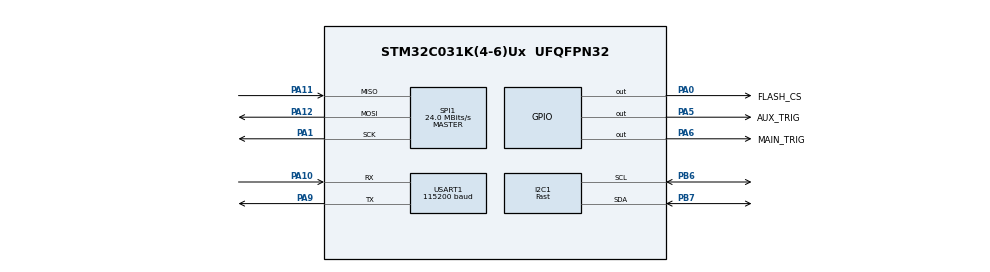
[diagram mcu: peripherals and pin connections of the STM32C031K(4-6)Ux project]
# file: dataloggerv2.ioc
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Dma.Request0=USART1_RX
Dma.USART1_RX.0.Direction=DMA_PERIPH_TO_MEMORY
Dma.USART1_RX.0.EventEnable=DISABLE
Dma.USART1_RX.0.Instance=DMA1_Channel1
Dma.USART1_RX.0.MemDataAlignment=DMA_MDATAALIGN_BYTE
Dma.USART1_RX.0.MemInc=DMA_MINC_ENABLE
Dma.USART1_RX.0.Mode=DMA_CIRCULAR
Dma.USART1_RX.0.PeriphDataAlignment=DMA_PDATAALIGN_BYTE
Dma.USART1_RX.0.PeriphInc=DMA_PINC_DISABLE
Dma.USART1_RX.0.Polarity=HAL_DMAMUX_REQ_GEN_RISING
Dma.USART1_RX.0.Priority=DMA_PRIORITY_LOW
Dma.USART1_RX.0.RequestNumber=1
Dma.USART1_RX.0.SignalID=NONE
Dma.USART1_RX.0.SyncEnable=DISABLE
Dma.USART1_RX.0.SyncPolarity=HAL_DMAMUX_SYNC_NO_EVENT
Dma.USART1_RX.0.SyncRequestNumber=1
Dma.USART1_RX.0.SyncSignalID=NONE
I2C1.I2C_Speed_Mode=I2C_Fast
I2C1.Timing=0x0090194B
Mcu.Family=STM32C0
Mcu.Name=STM32C031K(4-6)Ux
Mcu.Package=UFQFPN32
NVIC.DMA1_Channel1_IRQn=true\:0\:0\:false\:false\:true\:false\:true\:true
NVIC.USART1_IRQn=true\:0\:0\:false\:false\:true\:true\:true\:true
PA0.GPIO_Label=FLASH_CS
PA0.GPIO_Speed=GPIO_SPEED_FREQ_VERY_HIGH
PA0.PinState=GPIO_PIN_SET
PA0.Signal=GPIO_Output
PA1.GPIO_Speed=GPIO_SPEED_FREQ_HIGH
PA1.Mode=Full_Duplex_Master
PA1.Signal=SPI1_SCK
PA10.Mode=Asynchronous
PA10.Signal=USART1_RX
PA11\ [PA9].Mode=Full_Duplex_Master
PA11\ [PA9].Signal=SPI1_MISO
PA12\ [PA10].Mode=Full_Duplex_Master
PA12\ [PA10].Signal=SPI1_MOSI
PA13.Mode=Serial_Wire
PA13.Signal=DEBUG_SWDIO
PA14-BOOT0.Mode=Serial_Wire
PA14-BOOT0.Signal=DEBUG_SWCLK
PA5.GPIO_Label=AUX_TRIG
PA5.GPIO_Speed=GPIO_SPEED_FREQ_MEDIUM
PA5.Signal=GPIO_Output
PA6.GPIO_Label=MAIN_TRIG
PA6.GPIO_Speed=GPIO_SPEED_FREQ_MEDIUM
PA6.Signal=GPIO_Output
PA9.Mode=Asynchronous
PA9.Signal=USART1_TX
PB6.Mode=I2C
PB6.Signal=I2C1_SCL
PB7.Mode=I2C
PB7.Signal=I2C1_SDA
ProjectManager.HeapSize=0x200
ProjectManager.StackSize=0x400
ProjectManager.TargetToolchain=STM32CubeIDE
RCC.ADCFreq_Value=48000000
RCC.AHBFreq_Value=48000000
RCC.CortexFreq_Value=48000000
RCC.EXTERNAL_CLOCK_VALUE=12288000
RCC.HCLKFreq_Value=48000000
RCC.HSE_VALUE=8000000
RCC.HSISYSCLKDivider=RCC_HSI_DIV1
RCC.HSI_VALUE=48000000
RCC.LSE_VALUE=32768
RCC.SYSCLKFreq_VALUE=48000000
SPI1.CalculateBaudRate=24.0 MBits/s
SPI1.Direction=SPI_DIRECTION_2LINES
SPI1.Mode=SPI_MODE_MASTER
SPI1.VirtualType=VM_MASTER
USART1.BaudRate=115200
USART1.VirtualMode-Asynchronous=VM_ASYNC
board=custom

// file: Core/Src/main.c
/* USER CODE BEGIN Header */
/* USER CODE END Header */
#include "main.h"

/* USER CODE BEGIN Includes */
#include "logger.h"
#include "bmp388.h"
#include "base.h"
#include "mh_i2c.h"
#include "mh_spi.h"
#include "stm32c0xx_ll_i2c.h"
/* USER CODE END Includes */

I2C_HandleTypeDef hi2c1;

/* USER CODE BEGIN PV */
static int32_t currentPressure;    //x100
static int16_t currentTemperature; //x100
static BMP388_Calib_t bmp388Calibration;
/* USER CODE END PV */

void SystemClock_Config(void);
static void MX_GPIO_Init(void);
static void MX_DMA_Init(void);
static void MX_USART1_UART_Init(void);
static void MX_SPI1_Init(void);
static void MX_I2C1_Init(void);
/* USER CODE BEGIN PFP */
static void bmp388MeasureAndDisplayOnce();
static void checkBMP388();
static void checkLSM6DSO();
static void checkMX25L32();
/* USER CODE END PFP */

/* USER CODE BEGIN 0 */
static void bmp388MeasureAndDisplayOnce()
{
    bmp388Measure(&bmp388Calibration, &currentPressure, &currentTemperature);
    char tstring[5] = {0};
    char pstring[8] = {0};
    intToAscii(currentTemperature, tstring, 4);
    intToAscii(currentPressure, pstring, 7);
    sendStringUart("T=");
    sendStringUart(tstring);
    sendStringUart(", P=");
    sendStringUart(pstring);
    sendStringUart("\r\n");
}
static void checkBMP388()
{
    if (bmp388Init() == SUCCESS)
    {
        bmp388ReadCoeffs(&bmp388Calibration);
        LL_mDelay(10);
        bmp388MeasureAndDisplayOnce();
        sendStringUart("BMP OK\r\n");
    }
    else
    {
        sendStringUart("BMP FAIL\r\n");
        while(1){ __WFI(); }
    }
}
static void checkLSM6DSO()
{
    uint8_t chipId = 0;
    uint8_t result = FAILURE;
    readI2C(0xD6, 0x0F, &chipId, 1);
    result = (chipId == 0x6A) ? SUCCESS : FAILURE;
    if (result == SUCCESS)
    {
        sendStringUart("LSM OK\r\n");
    }
    else
    {
        sendStringUart("LSM FAIL\r\n");
        while(1){ __WFI(); }
    }
}

static void checkMX25L32(){
    char recvOut[4] = {0};

    LL_GPIO_ResetOutputPin(FLASH_CS_GPIO_Port, FLASH_CS_Pin);
    readAndWrite1bSPI(0x9F); // JEDEC ID
    recvOut[0] = readAndWrite1bSPI(0xFF);
    recvOut[1] = readAndWrite1bSPI(0xFF);
    recvOut[2] = readAndWrite1bSPI(0xFF);
    while (LL_SPI_IsActiveFlag_BSY(SPI1));
    LL_GPIO_SetOutputPin(FLASH_CS_GPIO_Port, FLASH_CS_Pin);

    const uint8_t status = // For MX25L32
            (recvOut[0] != 0xC2) ||
            (recvOut[1] != 0x20) ||
            (recvOut[2] != 0x16);

    sendStringUart("MX25L32: ");
    if (status == SUCCESS)
    {
        sendStringUart("OK");
    }
    else
    {
        sendStringUart("FAIL");
        while(1){ __WFI(); }
    }
    sendStringUart("\r\n");
}
/* USER CODE END 0 */

int main(void)
{

  /* MCU Configuration--------------------------------------------------------*/

  /* Reset of all peripherals, Initializes the Flash interface and the Systick. */
  HAL_Init();

  /* Configure the system clock */
  SystemClock_Config();

  /* Initialize all configured peripherals */
  MX_GPIO_Init();
  MX_DMA_Init();
  MX_USART1_UART_Init();
  MX_SPI1_Init();
  MX_I2C1_Init();
  /* USER CODE BEGIN 2 */

  LL_mDelay(10);
  sendStringUart("Hello, world!\r\n");
  checkBMP388();
  checkLSM6DSO();
  checkMX25L32();
  sendStringUart("WHILE\r\n");
  /* USER CODE END 2 */

  /* Infinite loop */
  /* USER CODE BEGIN WHILE */
  while(1)
  {
      LL_mDelay(300);
      bmp388MeasureAndDisplayOnce();
  }
    /* USER CODE END WHILE */

}

void SystemClock_Config(void)
{

  LL_FLASH_SetLatency(LL_FLASH_LATENCY_1);

  /* HSI configuration and activation */
  LL_RCC_HSI_Enable();
  while(LL_RCC_HSI_IsReady() != 1)
  {
  }

  LL_RCC_HSI_SetCalibTrimming(64);
  LL_RCC_SetHSIDiv(LL_RCC_HSI_DIV_1);
  /* Set AHB prescaler*/
  LL_RCC_SetAHBPrescaler(LL_RCC_HCLK_DIV_1);

  /* Sysclk activation on the HSI */
  LL_RCC_SetSysClkSource(LL_RCC_SYS_CLKSOURCE_HSI);
  while(LL_RCC_GetSysClkSource() != LL_RCC_SYS_CLKSOURCE_STATUS_HSI)
  {
  }

  /* Set APB1 prescaler*/
  LL_RCC_SetAPB1Prescaler(LL_RCC_APB1_DIV_1);
  /* Update CMSIS variable (which can be updated also through SystemCoreClockUpdate function) */
  LL_SetSystemCoreClock(48000000);

   /* Update the time base */
  if (HAL_InitTick (TICK_INT_PRIORITY) != HAL_OK)
  {
    Error_Handler();
  }
}

static void MX_I2C1_Init(void)
{

  hi2c1.Instance = I2C1;
  hi2c1.Init.Timing = 0x0090194B;
  hi2c1.Init.OwnAddress1 = 0;
  hi2c1.Init.AddressingMode = I2C_ADDRESSINGMODE_7BIT;
  hi2c1.Init.DualAddressMode = I2C_DUALADDRESS_DISABLE;
  hi2c1.Init.OwnAddress2 = 0;
  hi2c1.Init.OwnAddress2Masks = I2C_OA2_NOMASK;
  hi2c1.Init.GeneralCallMode = I2C_GENERALCALL_DISABLE;
  hi2c1.Init.NoStretchMode = I2C_NOSTRETCH_DISABLE;
  if (HAL_I2C_Init(&hi2c1) != HAL_OK)
  {
    Error_Handler();
  }

  /** Configure Analogue filter
  */
  if (HAL_I2CEx_ConfigAnalogFilter(&hi2c1, I2C_ANALOGFILTER_ENABLE) != HAL_OK)
  {
    Error_Handler();
  }

  /** Configure Digital filter
  */
  if (HAL_I2CEx_ConfigDigitalFilter(&hi2c1, 0) != HAL_OK)
  {
    Error_Handler();
  }

}

static void MX_SPI1_Init(void)
{

  LL_SPI_InitTypeDef SPI_InitStruct = {0};

  LL_GPIO_InitTypeDef GPIO_InitStruct = {0};

  LL_RCC_SetI2SClockSource(LL_RCC_I2S1_CLKSOURCE_SYSCLK);

  /* Peripheral clock enable */
  LL_APB2_GRP1_EnableClock(LL_APB2_GRP1_PERIPH_SPI1);

  LL_IOP_GRP1_EnableClock(LL_IOP_GRP1_PERIPH_GPIOA);
  /**SPI1 GPIO Configuration
  PA1   ------> SPI1_SCK
  PA11 [PA9]   ------> SPI1_MISO
  PA12 [PA10]   ------> SPI1_MOSI
  */
  GPIO_InitStruct.Pin = LL_GPIO_PIN_1;
  GPIO_InitStruct.Mode = LL_GPIO_MODE_ALTERNATE;
  GPIO_InitStruct.Speed = LL_GPIO_SPEED_FREQ_HIGH;
  GPIO_InitStruct.OutputType = LL_GPIO_OUTPUT_PUSHPULL;
  GPIO_InitStruct.Pull = LL_GPIO_PULL_NO;
  GPIO_InitStruct.Alternate = LL_GPIO_AF_0;
  LL_GPIO_Init(GPIOA, &GPIO_InitStruct);

  GPIO_InitStruct.Pin = LL_GPIO_PIN_11;
  GPIO_InitStruct.Mode = LL_GPIO_MODE_ALTERNATE;
  GPIO_InitStruct.Speed = LL_GPIO_SPEED_FREQ_LOW;
  GPIO_InitStruct.OutputType = LL_GPIO_OUTPUT_PUSHPULL;
  GPIO_InitStruct.Pull = LL_GPIO_PULL_NO;
  GPIO_InitStruct.Alternate = LL_GPIO_AF_0;
  LL_GPIO_Init(GPIOA, &GPIO_InitStruct);

  GPIO_InitStruct.Pin = LL_GPIO_PIN_12;
  GPIO_InitStruct.Mode = LL_GPIO_MODE_ALTERNATE;
  GPIO_InitStruct.Speed = LL_GPIO_SPEED_FREQ_LOW;
  GPIO_InitStruct.OutputType = LL_GPIO_OUTPUT_PUSHPULL;
  GPIO_InitStruct.Pull = LL_GPIO_PULL_NO;
  GPIO_InitStruct.Alternate = LL_GPIO_AF_0;
  LL_GPIO_Init(GPIOA, &GPIO_InitStruct);

  /* SPI1 parameter configuration*/
  SPI_InitStruct.TransferDirection = LL_SPI_FULL_DUPLEX;
  SPI_InitStruct.Mode = LL_SPI_MODE_MASTER;
  SPI_InitStruct.DataWidth = LL_SPI_DATAWIDTH_8BIT;
  SPI_InitStruct.ClockPolarity = LL_SPI_POLARITY_LOW;
  SPI_InitStruct.ClockPhase = LL_SPI_PHASE_1EDGE;
  SPI_InitStruct.NSS = LL_SPI_NSS_SOFT;
  SPI_InitStruct.BaudRate = LL_SPI_BAUDRATEPRESCALER_DIV16;
  SPI_InitStruct.BitOrder = LL_SPI_MSB_FIRST;
  SPI_InitStruct.CRCCalculation = LL_SPI_CRCCALCULATION_DISABLE;
  SPI_InitStruct.CRCPoly = 7;
  LL_SPI_Init(SPI1, &SPI_InitStruct);
  LL_SPI_SetStandard(SPI1, LL_SPI_PROTOCOL_MOTOROLA);
  LL_SPI_EnableNSSPulseMgt(SPI1);
  /* USER CODE BEGIN SPI1_Init 2 */
  LL_SPI_SetRxFIFOThreshold(SPI1, LL_SPI_RX_FIFO_TH_QUARTER);
  LL_SPI_Enable(SPI1);
  /* USER CODE END SPI1_Init 2 */

}

static void MX_USART1_UART_Init(void)
{

  LL_USART_InitTypeDef USART_InitStruct = {0};

  LL_GPIO_InitTypeDef GPIO_InitStruct = {0};

  LL_RCC_SetUSARTClockSource(LL_RCC_USART1_CLKSOURCE_PCLK1);

  /* Peripheral clock enable */
  LL_APB2_GRP1_EnableClock(LL_APB2_GRP1_PERIPH_USART1);

  LL_IOP_GRP1_EnableClock(LL_IOP_GRP1_PERIPH_GPIOA);
  /**USART1 GPIO Configuration
  PA9   ------> USART1_TX
  PA10   ------> USART1_RX
  */
  GPIO_InitStruct.Pin = LL_GPIO_PIN_9;
  GPIO_InitStruct.Mode = LL_GPIO_MODE_ALTERNATE;
  GPIO_InitStruct.Speed = LL_GPIO_SPEED_FREQ_LOW;
  GPIO_InitStruct.OutputType = LL_GPIO_OUTPUT_PUSHPULL;
  GPIO_InitStruct.Pull = LL_GPIO_PULL_NO;
  GPIO_InitStruct.Alternate = LL_GPIO_AF_1;
  LL_GPIO_Init(GPIOA, &GPIO_InitStruct);

  GPIO_InitStruct.Pin = LL_GPIO_PIN_10;
  GPIO_InitStruct.Mode = LL_GPIO_MODE_ALTERNATE;
  GPIO_InitStruct.Speed = LL_GPIO_SPEED_FREQ_LOW;
  GPIO_InitStruct.OutputType = LL_GPIO_OUTPUT_PUSHPULL;
  GPIO_InitStruct.Pull = LL_GPIO_PULL_NO;
  GPIO_InitStruct.Alternate = LL_GPIO_AF_1;
  LL_GPIO_Init(GPIOA, &GPIO_InitStruct);

  /* USART1 DMA Init */

  /* USART1_RX Init */
  LL_DMA_SetPeriphRequest(DMA1, LL_DMA_CHANNEL_1, LL_DMAMUX_REQ_USART1_RX);

  LL_DMA_SetDataTransferDirection(DMA1, LL_DMA_CHANNEL_1, LL_DMA_DIRECTION_PERIPH_TO_MEMORY);

  LL_DMA_SetChannelPriorityLevel(DMA1, LL_DMA_CHANNEL_1, LL_DMA_PRIORITY_LOW);

  LL_DMA_SetMode(DMA1, LL_DMA_CHANNEL_1, LL_DMA_MODE_CIRCULAR);

  LL_DMA_SetPeriphIncMode(DMA1, LL_DMA_CHANNEL_1, LL_DMA_PERIPH_NOINCREMENT);

  LL_DMA_SetMemoryIncMode(DMA1, LL_DMA_CHANNEL_1, LL_DMA_MEMORY_INCREMENT);

  LL_DMA_SetPeriphSize(DMA1, LL_DMA_CHANNEL_1, LL_DMA_PDATAALIGN_BYTE);

  LL_DMA_SetMemorySize(DMA1, LL_DMA_CHANNEL_1, LL_DMA_MDATAALIGN_BYTE);

  /* USART1 interrupt Init */
  NVIC_SetPriority(USART1_IRQn, 0);
  NVIC_EnableIRQ(USART1_IRQn);

  USART_InitStruct.PrescalerValue = LL_USART_PRESCALER_DIV1;
  USART_InitStruct.BaudRate = 115200;
  USART_InitStruct.DataWidth = LL_USART_DATAWIDTH_8B;
  USART_InitStruct.StopBits = LL_USART_STOPBITS_1;
  USART_InitStruct.Parity = LL_USART_PARITY_NONE;
  USART_InitStruct.TransferDirection = LL_USART_DIRECTION_TX_RX;
  USART_InitStruct.HardwareFlowControl = LL_USART_HWCONTROL_NONE;
  USART_InitStruct.OverSampling = LL_USART_OVERSAMPLING_16;
  LL_USART_Init(USART1, &USART_InitStruct);
  LL_USART_SetTXFIFOThreshold(USART1, LL_USART_FIFOTHRESHOLD_1_8);
  LL_USART_SetRXFIFOThreshold(USART1, LL_USART_FIFOTHRESHOLD_1_8);
  LL_USART_DisableFIFO(USART1);
  LL_USART_ConfigAsyncMode(USART1);

  LL_USART_Enable(USART1);

  /* Polling USART1 initialisation */
  while((!(LL_USART_IsActiveFlag_TEACK(USART1))) || (!(LL_USART_IsActiveFlag_REACK(USART1))))
  {
  }

}

static void MX_DMA_Init(void)
{

  /* Init with LL driver */
  /* DMA controller clock enable */
  LL_AHB1_GRP1_EnableClock(LL_AHB1_GRP1_PERIPH_DMA1);

  /* DMA interrupt init */
  /* DMA1_Channel1_IRQn interrupt configuration */
  NVIC_SetPriority(DMA1_Channel1_IRQn, 0);
  NVIC_EnableIRQ(DMA1_Channel1_IRQn);

}

static void MX_GPIO_Init(void)
{
  LL_GPIO_InitTypeDef GPIO_InitStruct = {0};

  /* GPIO Ports Clock Enable */
  LL_IOP_GRP1_EnableClock(LL_IOP_GRP1_PERIPH_GPIOA);
  LL_IOP_GRP1_EnableClock(LL_IOP_GRP1_PERIPH_GPIOB);

  /**/
  LL_GPIO_SetOutputPin(FLASH_CS_GPIO_Port, FLASH_CS_Pin);

  /**/
  LL_GPIO_ResetOutputPin(AUX_TRIG_GPIO_Port, AUX_TRIG_Pin);

  /**/
  LL_GPIO_ResetOutputPin(MAIN_TRIG_GPIO_Port, MAIN_TRIG_Pin);

  /**/
  GPIO_InitStruct.Pin = FLASH_CS_Pin;
  GPIO_InitStruct.Mode = LL_GPIO_MODE_OUTPUT;
  GPIO_InitStruct.Speed = LL_GPIO_SPEED_FREQ_VERY_HIGH;
  GPIO_InitStruct.OutputType = LL_GPIO_OUTPUT_PUSHPULL;
  GPIO_InitStruct.Pull = LL_GPIO_PULL_NO;
  LL_GPIO_Init(FLASH_CS_GPIO_Port, &GPIO_InitStruct);

  /**/
  GPIO_InitStruct.Pin = AUX_TRIG_Pin;
  GPIO_InitStruct.Mode = LL_GPIO_MODE_OUTPUT;
  GPIO_InitStruct.Speed = LL_GPIO_SPEED_FREQ_MEDIUM;
  GPIO_InitStruct.OutputType = LL_GPIO_OUTPUT_PUSHPULL;
  GPIO_InitStruct.Pull = LL_GPIO_PULL_NO;
  LL_GPIO_Init(AUX_TRIG_GPIO_Port, &GPIO_InitStruct);

  /**/
  GPIO_InitStruct.Pin = MAIN_TRIG_Pin;
  GPIO_InitStruct.Mode = LL_GPIO_MODE_OUTPUT;
  GPIO_InitStruct.Speed = LL_GPIO_SPEED_FREQ_MEDIUM;
  GPIO_InitStruct.OutputType = LL_GPIO_OUTPUT_PUSHPULL;
  GPIO_InitStruct.Pull = LL_GPIO_PULL_NO;
  LL_GPIO_Init(MAIN_TRIG_GPIO_Port, &GPIO_InitStruct);

}

void Error_Handler(void)
{
}
